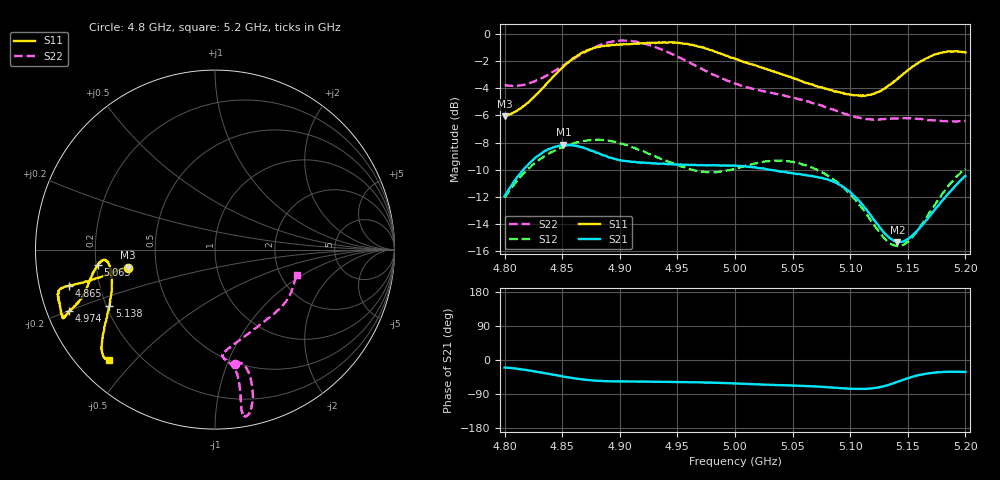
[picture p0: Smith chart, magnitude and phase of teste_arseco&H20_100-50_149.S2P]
! Network Analyzer HP8722D
! Hewlett-Packard
! Data name: Linha & Wilkinson
! Saver's name: Rodrigo Anjos
! Comments: Teste da utilização de aquisição
! continua pelo VNA HP8722D
! Time and date: 6/5/2025 13:48
!  Frequency  S11  S21  S12  S22
# HZ  S  MA R 50
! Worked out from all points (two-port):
!   401 points, 4.8 GHz to 5.2 GHz, reference 50 ohm
!   highest |S21| = -8.15 dB at 4.851 GHz (marker M1); lowest = -15.3 dB at 5.141 GHz (marker M2)
!   |S21| within 3 dB of the highest: 4.806 GHz to 5.092 GHz (286.2 MHz wide, 5.78 % of centre); 5.191531 GHz to end of sweep
!   lowest |S11| = -6.1 dB at 4.8 GHz (marker M3), VSWR 2.98, Z = 16.9 - j4.55 ohm
!   |S11| at or under -10 dB: nowhere
!   |S22| runs from -6.5 to -0.5 dB; largest |S21 - S12| = 0.62
!   S11 on the Smith chart (normalised r, x): 4.8 GHz: 0.34, -0.09; 4.865 GHz: 0.09, -0.12; 4.974 GHz: 0.06, -0.20; 5.063 GHz: 0.21, -0.06; 5.138 GHz: 0.21, -0.24; 5.2 GHz: 0.09, -0.42
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4.8e9  0.4977 -168.3  0.2533 -19.9  0.2497 -141.0  0.6482 -80.2
4.825e9  0.583 -167.5  0.3449 -29.4  0.3319 -144.5  0.6664 -75.8
4.851e9  0.7575 -166.0  0.3911 -43.7  0.3847 -149.5  0.7661 -74.6
4.865e9  0.8403 -166.2  0.3844 -50.2  0.4007 -152.0  0.8326 -75.3
4.867e9  0.851 -166.1  0.383 -51.0  0.4024 -152.2  0.8442 -75.5
4.901e9  0.9151 -162.5  0.3427 -56.4  0.3952 -156.9  0.9452 -79.4
4.934e9  0.9289 -156.7  0.3331 -57.7  0.3508 -155.8  0.8818 -80.6
4.953e9  0.9226 -155.7  0.3311 -58.3  0.3257 -152.2  0.813 -79.9
4.974e9  0.8842 -157.1  0.3283 -59.5  0.3109 -145.8  0.7329 -79.7
5e9  0.8108 -159.2  0.3276 -61.9  0.3195 -137.4  0.6559 -81.3
5.036e9  0.7214 -165.9  0.3133 -66.2  0.3421 -134.7  0.6006 -85.6
5.063e9  0.6586 -172.7  0.3014 -68.8  0.3268 -136.5  0.5641 -83.8
5.067e9  0.6511 -173.3  0.3006 -69.3  0.3226 -136.9  0.5566 -82.6
5.086e9  0.6141 -174.7  0.2854 -73.0  0.2905 -138.6  0.5253 -75.3
5.101e9  0.5973 -171.9  0.2595 -76.0  0.2547 -138.9  0.4998 -66.4
5.116e9  0.5966 -165.4  0.2203 -75.9  0.2117 -135.5  0.4855 -55.8
5.134e9  0.6491 -154.4  0.1778 -65.0  0.1704 -120.7  0.4876 -43.1
5.138e9  0.6685 -151.8  0.1734 -61.1  0.1669 -115.5  0.4881 -40.8
5.141e9  0.6817 -150.3  0.1717 -57.6  0.1658 -111.4  0.4887 -39.1
5.153e9  0.7505 -145.3  0.1798 -45.3  0.1775 -96.1  0.4888 -32.9
5.173e9  0.8383 -139.0  0.2248 -33.4  0.2336 -80.9  0.4805 -24.3
5.2e9  0.8543 -133.8  0.3004 -31.5  0.3194 -77.1  0.4776 -17.6
